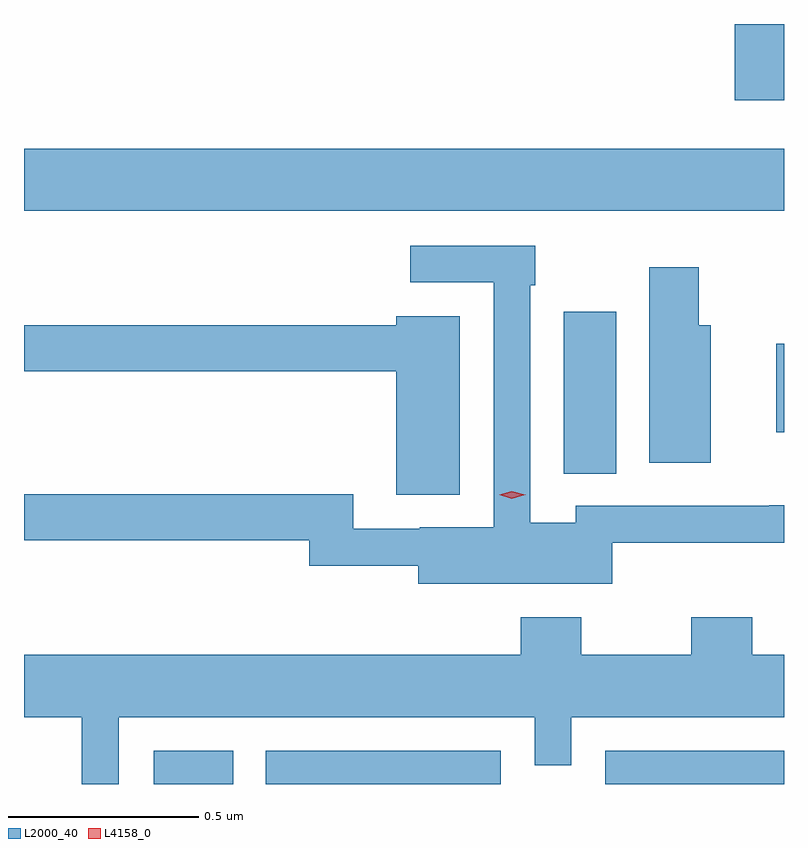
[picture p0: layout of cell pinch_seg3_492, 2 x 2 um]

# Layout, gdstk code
import gdstk
lib = gdstk.Library(unit=1e-6, precision=1e-09)
def R(c, l, rs):  # rectangles x0, y0, x1, y1
    for r in rs: c.add(gdstk.rectangle(r[:2], r[2:], *l))
def P(c, l, *ps):  # polygons
    for p in ps: c.add(gdstk.Polygon(p, *l))
L2000_40 = (2000, 40)
L4158_0 = (4158, 0)

pinch_seg3_492 = lib.new_cell('pinch_seg3_492')
R(pinch_seg3_492, L2000_40, [(1010.988,667.44,1011.197,667.527), (1011.282,667.44,1011.9,667.527), (1012.176,667.44,1012.646,667.527), (1012.067,668.257,1012.204,668.683), (1012.625,668.366,1012.646,668.599), (1010.646,668.948,1012.646,669.112), (1012.517,669.24,1012.646,669.44)])
P(pinch_seg3_492, L2000_40, [(1012.194,668.075),(1012.646,668.075),(1012.646,668.174),(1012.607,668.174),(1012.607,668.172),(1012.098,668.172),(1012.098,668.128),(1011.978,668.128),(1011.978,668.753),(1011.991,668.753),(1011.991,668.856),(1011.663,668.856),(1011.663,668.76),(1011.882,668.76),(1011.882,668.116),(1011.687,668.116),(1011.687,668.112),(1011.513,668.112),(1011.513,668.203),(1010.646,668.203),(1010.646,668.082),(1011.397,668.082),(1011.397,668.014),(1011.683,668.014),(1011.683,667.967),(1012.194,667.967)],
  [(1012.453,668.647),(1012.422,668.647),(1012.422,668.8),(1012.292,668.8),(1012.292,668.286),(1012.453,668.286)],
  [(1011.793,668.671),(1011.626,668.671),(1011.626,668.647),(1010.646,668.647),(1010.646,668.526),(1011.626,668.526),(1011.626,668.201),(1011.793,668.201)],
  [(1010.895,667.616),(1011.99,667.616),(1011.99,667.489),(1012.086,667.489),(1012.086,667.616),(1012.646,667.616),(1012.646,667.78),(1012.562,667.78),(1012.562,667.879),(1012.402,667.879),(1012.402,667.78),(1012.113,667.78),(1012.113,667.879),(1011.953,667.879),(1011.953,667.78),(1010.646,667.78),(1010.646,667.616),(1010.798,667.616),(1010.798,667.44),(1010.895,667.44)])
P(pinch_seg3_492, L4158_0, [(1011.93,668.191),(1011.896,668.201),(1011.895,668.201),(1011.896,668.201),(1011.93,668.211),(1011.965,668.201),(1011.966,668.201),(1011.965,668.201)])

lib.write_gds('pinch_seg3_492.gds')
